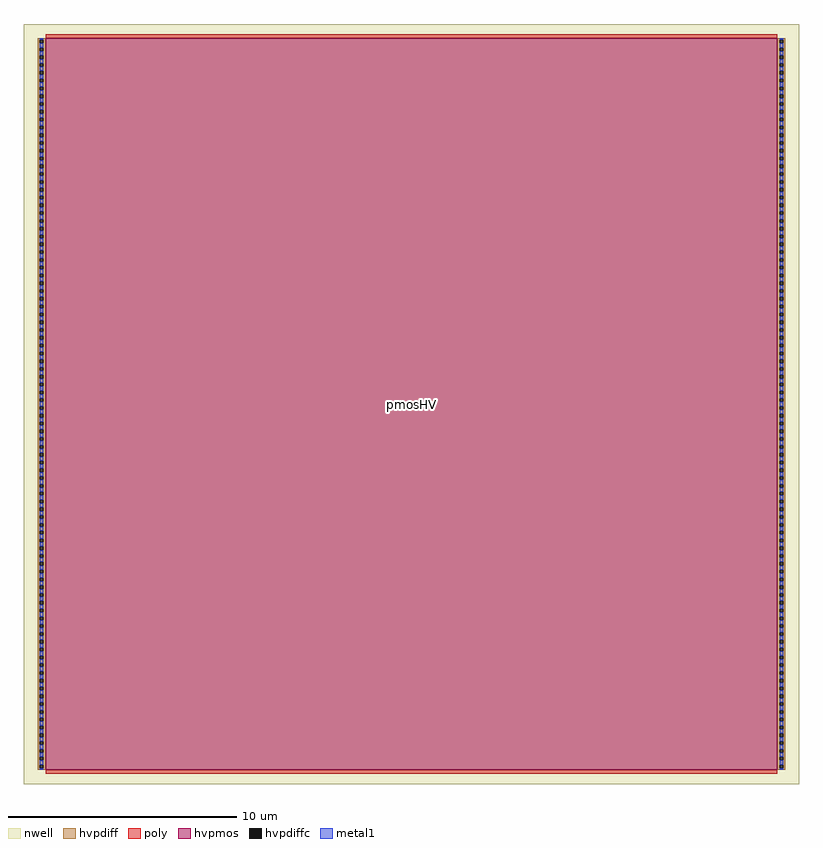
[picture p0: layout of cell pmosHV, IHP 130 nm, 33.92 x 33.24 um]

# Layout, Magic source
magic
tech ihp-sg13g2
magscale 1 2
<< nwell >>
rect -124 -124 6660 6524
<< hvpmos >>
rect 68 0 6468 6400
<< hvpdiff >>
rect 0 6386 68 6400
rect 0 6354 14 6386
rect 46 6354 68 6386
rect 0 6317 68 6354
rect 0 6285 14 6317
rect 46 6285 68 6317
rect 0 6249 68 6285
rect 0 6217 14 6249
rect 46 6217 68 6249
rect 0 6181 68 6217
rect 0 6149 14 6181
rect 46 6149 68 6181
rect 0 6113 68 6149
rect 0 6081 14 6113
rect 46 6081 68 6113
rect 0 6045 68 6081
rect 0 6013 14 6045
rect 46 6013 68 6045
rect 0 5976 68 6013
rect 0 5944 14 5976
rect 46 5944 68 5976
rect 0 5908 68 5944
rect 0 5876 14 5908
rect 46 5876 68 5908
rect 0 5840 68 5876
rect 0 5808 14 5840
rect 46 5808 68 5840
rect 0 5772 68 5808
rect 0 5740 14 5772
rect 46 5740 68 5772
rect 0 5704 68 5740
rect 0 5672 14 5704
rect 46 5672 68 5704
rect 0 5636 68 5672
rect 0 5604 14 5636
rect 46 5604 68 5636
rect 0 5567 68 5604
rect 0 5535 14 5567
rect 46 5535 68 5567
rect 0 5499 68 5535
rect 0 5467 14 5499
rect 46 5467 68 5499
rect 0 5431 68 5467
rect 0 5399 14 5431
rect 46 5399 68 5431
rect 0 5363 68 5399
rect 0 5331 14 5363
rect 46 5331 68 5363
rect 0 5295 68 5331
rect 0 5263 14 5295
rect 46 5263 68 5295
rect 0 5227 68 5263
rect 0 5195 14 5227
rect 46 5195 68 5227
rect 0 5158 68 5195
rect 0 5126 14 5158
rect 46 5126 68 5158
rect 0 5090 68 5126
rect 0 5058 14 5090
rect 46 5058 68 5090
rect 0 5022 68 5058
rect 0 4990 14 5022
rect 46 4990 68 5022
rect 0 4954 68 4990
rect 0 4922 14 4954
rect 46 4922 68 4954
rect 0 4886 68 4922
rect 0 4854 14 4886
rect 46 4854 68 4886
rect 0 4818 68 4854
rect 0 4786 14 4818
rect 46 4786 68 4818
rect 0 4749 68 4786
rect 0 4717 14 4749
rect 46 4717 68 4749
rect 0 4681 68 4717
rect 0 4649 14 4681
rect 46 4649 68 4681
rect 0 4613 68 4649
rect 0 4581 14 4613
rect 46 4581 68 4613
rect 0 4545 68 4581
rect 0 4513 14 4545
rect 46 4513 68 4545
rect 0 4477 68 4513
rect 0 4445 14 4477
rect 46 4445 68 4477
rect 0 4409 68 4445
rect 0 4377 14 4409
rect 46 4377 68 4409
rect 0 4340 68 4377
rect 0 4308 14 4340
rect 46 4308 68 4340
rect 0 4272 68 4308
rect 0 4240 14 4272
rect 46 4240 68 4272
rect 0 4204 68 4240
rect 0 4172 14 4204
rect 46 4172 68 4204
rect 0 4136 68 4172
rect 0 4104 14 4136
rect 46 4104 68 4136
rect 0 4068 68 4104
rect 0 4036 14 4068
rect 46 4036 68 4068
rect 0 3999 68 4036
rect 0 3967 14 3999
rect 46 3967 68 3999
rect 0 3931 68 3967
rect 0 3899 14 3931
rect 46 3899 68 3931
rect 0 3863 68 3899
rect 0 3831 14 3863
rect 46 3831 68 3863
rect 0 3795 68 3831
rect 0 3763 14 3795
rect 46 3763 68 3795
rect 0 3727 68 3763
rect 0 3695 14 3727
rect 46 3695 68 3727
rect 0 3659 68 3695
rect 0 3627 14 3659
rect 46 3627 68 3659
rect 0 3590 68 3627
rect 0 3558 14 3590
rect 46 3558 68 3590
rect 0 3522 68 3558
rect 0 3490 14 3522
rect 46 3490 68 3522
rect 0 3454 68 3490
rect 0 3422 14 3454
rect 46 3422 68 3454
rect 0 3386 68 3422
rect 0 3354 14 3386
rect 46 3354 68 3386
rect 0 3318 68 3354
rect 0 3286 14 3318
rect 46 3286 68 3318
rect 0 3250 68 3286
rect 0 3218 14 3250
rect 46 3218 68 3250
rect 0 3181 68 3218
rect 0 3149 14 3181
rect 46 3149 68 3181
rect 0 3113 68 3149
rect 0 3081 14 3113
rect 46 3081 68 3113
rect 0 3045 68 3081
rect 0 3013 14 3045
rect 46 3013 68 3045
rect 0 2977 68 3013
rect 0 2945 14 2977
rect 46 2945 68 2977
rect 0 2909 68 2945
rect 0 2877 14 2909
rect 46 2877 68 2909
rect 0 2841 68 2877
rect 0 2809 14 2841
rect 46 2809 68 2841
rect 0 2772 68 2809
rect 0 2740 14 2772
rect 46 2740 68 2772
rect 0 2704 68 2740
rect 0 2672 14 2704
rect 46 2672 68 2704
rect 0 2636 68 2672
rect 0 2604 14 2636
rect 46 2604 68 2636
rect 0 2568 68 2604
rect 0 2536 14 2568
rect 46 2536 68 2568
rect 0 2500 68 2536
rect 0 2468 14 2500
rect 46 2468 68 2500
rect 0 2432 68 2468
rect 0 2400 14 2432
rect 46 2400 68 2432
rect 0 2363 68 2400
rect 0 2331 14 2363
rect 46 2331 68 2363
rect 0 2295 68 2331
rect 0 2263 14 2295
rect 46 2263 68 2295
rect 0 2227 68 2263
rect 0 2195 14 2227
rect 46 2195 68 2227
rect 0 2159 68 2195
rect 0 2127 14 2159
rect 46 2127 68 2159
rect 0 2091 68 2127
rect 0 2059 14 2091
rect 46 2059 68 2091
rect 0 2022 68 2059
rect 0 1990 14 2022
rect 46 1990 68 2022
rect 0 1954 68 1990
rect 0 1922 14 1954
rect 46 1922 68 1954
rect 0 1886 68 1922
rect 0 1854 14 1886
rect 46 1854 68 1886
rect 0 1818 68 1854
rect 0 1786 14 1818
rect 46 1786 68 1818
rect 0 1750 68 1786
rect 0 1718 14 1750
rect 46 1718 68 1750
rect 0 1682 68 1718
rect 0 1650 14 1682
rect 46 1650 68 1682
rect 0 1613 68 1650
rect 0 1581 14 1613
rect 46 1581 68 1613
rect 0 1545 68 1581
rect 0 1513 14 1545
rect 46 1513 68 1545
rect 0 1477 68 1513
rect 0 1445 14 1477
rect 46 1445 68 1477
rect 0 1409 68 1445
rect 0 1377 14 1409
rect 46 1377 68 1409
rect 0 1341 68 1377
rect 0 1309 14 1341
rect 46 1309 68 1341
rect 0 1273 68 1309
rect 0 1241 14 1273
rect 46 1241 68 1273
rect 0 1204 68 1241
rect 0 1172 14 1204
rect 46 1172 68 1204
rect 0 1136 68 1172
rect 0 1104 14 1136
rect 46 1104 68 1136
rect 0 1068 68 1104
rect 0 1036 14 1068
rect 46 1036 68 1068
rect 0 1000 68 1036
rect 0 968 14 1000
rect 46 968 68 1000
rect 0 932 68 968
rect 0 900 14 932
rect 46 900 68 932
rect 0 864 68 900
rect 0 832 14 864
rect 46 832 68 864
rect 0 795 68 832
rect 0 763 14 795
rect 46 763 68 795
rect 0 727 68 763
rect 0 695 14 727
rect 46 695 68 727
rect 0 659 68 695
rect 0 627 14 659
rect 46 627 68 659
rect 0 591 68 627
rect 0 559 14 591
rect 46 559 68 591
rect 0 523 68 559
rect 0 491 14 523
rect 46 491 68 523
rect 0 455 68 491
rect 0 423 14 455
rect 46 423 68 455
rect 0 386 68 423
rect 0 354 14 386
rect 46 354 68 386
rect 0 318 68 354
rect 0 286 14 318
rect 46 286 68 318
rect 0 250 68 286
rect 0 218 14 250
rect 46 218 68 250
rect 0 182 68 218
rect 0 150 14 182
rect 46 150 68 182
rect 0 114 68 150
rect 0 82 14 114
rect 46 82 68 114
rect 0 46 68 82
rect 0 14 14 46
rect 46 14 68 46
rect 0 0 68 14
rect 6468 6386 6536 6400
rect 6468 6354 6490 6386
rect 6522 6354 6536 6386
rect 6468 6317 6536 6354
rect 6468 6285 6490 6317
rect 6522 6285 6536 6317
rect 6468 6249 6536 6285
rect 6468 6217 6490 6249
rect 6522 6217 6536 6249
rect 6468 6181 6536 6217
rect 6468 6149 6490 6181
rect 6522 6149 6536 6181
rect 6468 6113 6536 6149
rect 6468 6081 6490 6113
rect 6522 6081 6536 6113
rect 6468 6045 6536 6081
rect 6468 6013 6490 6045
rect 6522 6013 6536 6045
rect 6468 5976 6536 6013
rect 6468 5944 6490 5976
rect 6522 5944 6536 5976
rect 6468 5908 6536 5944
rect 6468 5876 6490 5908
rect 6522 5876 6536 5908
rect 6468 5840 6536 5876
rect 6468 5808 6490 5840
rect 6522 5808 6536 5840
rect 6468 5772 6536 5808
rect 6468 5740 6490 5772
rect 6522 5740 6536 5772
rect 6468 5704 6536 5740
rect 6468 5672 6490 5704
rect 6522 5672 6536 5704
rect 6468 5636 6536 5672
rect 6468 5604 6490 5636
rect 6522 5604 6536 5636
rect 6468 5567 6536 5604
rect 6468 5535 6490 5567
rect 6522 5535 6536 5567
rect 6468 5499 6536 5535
rect 6468 5467 6490 5499
rect 6522 5467 6536 5499
rect 6468 5431 6536 5467
rect 6468 5399 6490 5431
rect 6522 5399 6536 5431
rect 6468 5363 6536 5399
rect 6468 5331 6490 5363
rect 6522 5331 6536 5363
rect 6468 5295 6536 5331
rect 6468 5263 6490 5295
rect 6522 5263 6536 5295
rect 6468 5227 6536 5263
rect 6468 5195 6490 5227
rect 6522 5195 6536 5227
rect 6468 5158 6536 5195
rect 6468 5126 6490 5158
rect 6522 5126 6536 5158
rect 6468 5090 6536 5126
rect 6468 5058 6490 5090
rect 6522 5058 6536 5090
rect 6468 5022 6536 5058
rect 6468 4990 6490 5022
rect 6522 4990 6536 5022
rect 6468 4954 6536 4990
rect 6468 4922 6490 4954
rect 6522 4922 6536 4954
rect 6468 4886 6536 4922
rect 6468 4854 6490 4886
rect 6522 4854 6536 4886
rect 6468 4818 6536 4854
rect 6468 4786 6490 4818
rect 6522 4786 6536 4818
rect 6468 4749 6536 4786
rect 6468 4717 6490 4749
rect 6522 4717 6536 4749
rect 6468 4681 6536 4717
rect 6468 4649 6490 4681
rect 6522 4649 6536 4681
rect 6468 4613 6536 4649
rect 6468 4581 6490 4613
rect 6522 4581 6536 4613
rect 6468 4545 6536 4581
rect 6468 4513 6490 4545
rect 6522 4513 6536 4545
rect 6468 4477 6536 4513
rect 6468 4445 6490 4477
rect 6522 4445 6536 4477
rect 6468 4409 6536 4445
rect 6468 4377 6490 4409
rect 6522 4377 6536 4409
rect 6468 4340 6536 4377
rect 6468 4308 6490 4340
rect 6522 4308 6536 4340
rect 6468 4272 6536 4308
rect 6468 4240 6490 4272
rect 6522 4240 6536 4272
rect 6468 4204 6536 4240
rect 6468 4172 6490 4204
rect 6522 4172 6536 4204
rect 6468 4136 6536 4172
rect 6468 4104 6490 4136
rect 6522 4104 6536 4136
rect 6468 4068 6536 4104
rect 6468 4036 6490 4068
rect 6522 4036 6536 4068
rect 6468 3999 6536 4036
rect 6468 3967 6490 3999
rect 6522 3967 6536 3999
rect 6468 3931 6536 3967
rect 6468 3899 6490 3931
rect 6522 3899 6536 3931
rect 6468 3863 6536 3899
rect 6468 3831 6490 3863
rect 6522 3831 6536 3863
rect 6468 3795 6536 3831
rect 6468 3763 6490 3795
rect 6522 3763 6536 3795
rect 6468 3727 6536 3763
rect 6468 3695 6490 3727
rect 6522 3695 6536 3727
rect 6468 3659 6536 3695
rect 6468 3627 6490 3659
rect 6522 3627 6536 3659
rect 6468 3590 6536 3627
rect 6468 3558 6490 3590
rect 6522 3558 6536 3590
rect 6468 3522 6536 3558
rect 6468 3490 6490 3522
rect 6522 3490 6536 3522
rect 6468 3454 6536 3490
rect 6468 3422 6490 3454
rect 6522 3422 6536 3454
rect 6468 3386 6536 3422
rect 6468 3354 6490 3386
rect 6522 3354 6536 3386
rect 6468 3318 6536 3354
rect 6468 3286 6490 3318
rect 6522 3286 6536 3318
rect 6468 3250 6536 3286
rect 6468 3218 6490 3250
rect 6522 3218 6536 3250
rect 6468 3181 6536 3218
rect 6468 3149 6490 3181
rect 6522 3149 6536 3181
rect 6468 3113 6536 3149
rect 6468 3081 6490 3113
rect 6522 3081 6536 3113
rect 6468 3045 6536 3081
rect 6468 3013 6490 3045
rect 6522 3013 6536 3045
rect 6468 2977 6536 3013
rect 6468 2945 6490 2977
rect 6522 2945 6536 2977
rect 6468 2909 6536 2945
rect 6468 2877 6490 2909
rect 6522 2877 6536 2909
rect 6468 2841 6536 2877
rect 6468 2809 6490 2841
rect 6522 2809 6536 2841
rect 6468 2772 6536 2809
rect 6468 2740 6490 2772
rect 6522 2740 6536 2772
rect 6468 2704 6536 2740
rect 6468 2672 6490 2704
rect 6522 2672 6536 2704
rect 6468 2636 6536 2672
rect 6468 2604 6490 2636
rect 6522 2604 6536 2636
rect 6468 2568 6536 2604
rect 6468 2536 6490 2568
rect 6522 2536 6536 2568
rect 6468 2500 6536 2536
rect 6468 2468 6490 2500
rect 6522 2468 6536 2500
rect 6468 2432 6536 2468
rect 6468 2400 6490 2432
rect 6522 2400 6536 2432
rect 6468 2363 6536 2400
rect 6468 2331 6490 2363
rect 6522 2331 6536 2363
rect 6468 2295 6536 2331
rect 6468 2263 6490 2295
rect 6522 2263 6536 2295
rect 6468 2227 6536 2263
rect 6468 2195 6490 2227
rect 6522 2195 6536 2227
rect 6468 2159 6536 2195
rect 6468 2127 6490 2159
rect 6522 2127 6536 2159
rect 6468 2091 6536 2127
rect 6468 2059 6490 2091
rect 6522 2059 6536 2091
rect 6468 2022 6536 2059
rect 6468 1990 6490 2022
rect 6522 1990 6536 2022
rect 6468 1954 6536 1990
rect 6468 1922 6490 1954
rect 6522 1922 6536 1954
rect 6468 1886 6536 1922
rect 6468 1854 6490 1886
rect 6522 1854 6536 1886
rect 6468 1818 6536 1854
rect 6468 1786 6490 1818
rect 6522 1786 6536 1818
rect 6468 1750 6536 1786
rect 6468 1718 6490 1750
rect 6522 1718 6536 1750
rect 6468 1682 6536 1718
rect 6468 1650 6490 1682
rect 6522 1650 6536 1682
rect 6468 1613 6536 1650
rect 6468 1581 6490 1613
rect 6522 1581 6536 1613
rect 6468 1545 6536 1581
rect 6468 1513 6490 1545
rect 6522 1513 6536 1545
rect 6468 1477 6536 1513
rect 6468 1445 6490 1477
rect 6522 1445 6536 1477
rect 6468 1409 6536 1445
rect 6468 1377 6490 1409
rect 6522 1377 6536 1409
rect 6468 1341 6536 1377
rect 6468 1309 6490 1341
rect 6522 1309 6536 1341
rect 6468 1273 6536 1309
rect 6468 1241 6490 1273
rect 6522 1241 6536 1273
rect 6468 1204 6536 1241
rect 6468 1172 6490 1204
rect 6522 1172 6536 1204
rect 6468 1136 6536 1172
rect 6468 1104 6490 1136
rect 6522 1104 6536 1136
rect 6468 1068 6536 1104
rect 6468 1036 6490 1068
rect 6522 1036 6536 1068
rect 6468 1000 6536 1036
rect 6468 968 6490 1000
rect 6522 968 6536 1000
rect 6468 932 6536 968
rect 6468 900 6490 932
rect 6522 900 6536 932
rect 6468 864 6536 900
rect 6468 832 6490 864
rect 6522 832 6536 864
rect 6468 795 6536 832
rect 6468 763 6490 795
rect 6522 763 6536 795
rect 6468 727 6536 763
rect 6468 695 6490 727
rect 6522 695 6536 727
rect 6468 659 6536 695
rect 6468 627 6490 659
rect 6522 627 6536 659
rect 6468 591 6536 627
rect 6468 559 6490 591
rect 6522 559 6536 591
rect 6468 523 6536 559
rect 6468 491 6490 523
rect 6522 491 6536 523
rect 6468 455 6536 491
rect 6468 423 6490 455
rect 6522 423 6536 455
rect 6468 386 6536 423
rect 6468 354 6490 386
rect 6522 354 6536 386
rect 6468 318 6536 354
rect 6468 286 6490 318
rect 6522 286 6536 318
rect 6468 250 6536 286
rect 6468 218 6490 250
rect 6522 218 6536 250
rect 6468 182 6536 218
rect 6468 150 6490 182
rect 6522 150 6536 182
rect 6468 114 6536 150
rect 6468 82 6490 114
rect 6522 82 6536 114
rect 6468 46 6536 82
rect 6468 14 6490 46
rect 6522 14 6536 46
rect 6468 0 6536 14
<< hvpdiffc >>
rect 14 6354 46 6386
rect 14 6285 46 6317
rect 14 6217 46 6249
rect 14 6149 46 6181
rect 14 6081 46 6113
rect 14 6013 46 6045
rect 14 5944 46 5976
rect 14 5876 46 5908
rect 14 5808 46 5840
rect 14 5740 46 5772
rect 14 5672 46 5704
rect 14 5604 46 5636
rect 14 5535 46 5567
rect 14 5467 46 5499
rect 14 5399 46 5431
rect 14 5331 46 5363
rect 14 5263 46 5295
rect 14 5195 46 5227
rect 14 5126 46 5158
rect 14 5058 46 5090
rect 14 4990 46 5022
rect 14 4922 46 4954
rect 14 4854 46 4886
rect 14 4786 46 4818
rect 14 4717 46 4749
rect 14 4649 46 4681
rect 14 4581 46 4613
rect 14 4513 46 4545
rect 14 4445 46 4477
rect 14 4377 46 4409
rect 14 4308 46 4340
rect 14 4240 46 4272
rect 14 4172 46 4204
rect 14 4104 46 4136
rect 14 4036 46 4068
rect 14 3967 46 3999
rect 14 3899 46 3931
rect 14 3831 46 3863
rect 14 3763 46 3795
rect 14 3695 46 3727
rect 14 3627 46 3659
rect 14 3558 46 3590
rect 14 3490 46 3522
rect 14 3422 46 3454
rect 14 3354 46 3386
rect 14 3286 46 3318
rect 14 3218 46 3250
rect 14 3149 46 3181
rect 14 3081 46 3113
rect 14 3013 46 3045
rect 14 2945 46 2977
rect 14 2877 46 2909
rect 14 2809 46 2841
rect 14 2740 46 2772
rect 14 2672 46 2704
rect 14 2604 46 2636
rect 14 2536 46 2568
rect 14 2468 46 2500
rect 14 2400 46 2432
rect 14 2331 46 2363
rect 14 2263 46 2295
rect 14 2195 46 2227
rect 14 2127 46 2159
rect 14 2059 46 2091
rect 14 1990 46 2022
rect 14 1922 46 1954
rect 14 1854 46 1886
rect 14 1786 46 1818
rect 14 1718 46 1750
rect 14 1650 46 1682
rect 14 1581 46 1613
rect 14 1513 46 1545
rect 14 1445 46 1477
rect 14 1377 46 1409
rect 14 1309 46 1341
rect 14 1241 46 1273
rect 14 1172 46 1204
rect 14 1104 46 1136
rect 14 1036 46 1068
rect 14 968 46 1000
rect 14 900 46 932
rect 14 832 46 864
rect 14 763 46 795
rect 14 695 46 727
rect 14 627 46 659
rect 14 559 46 591
rect 14 491 46 523
rect 14 423 46 455
rect 14 354 46 386
rect 14 286 46 318
rect 14 218 46 250
rect 14 150 46 182
rect 14 82 46 114
rect 14 14 46 46
rect 6490 6354 6522 6386
rect 6490 6285 6522 6317
rect 6490 6217 6522 6249
rect 6490 6149 6522 6181
rect 6490 6081 6522 6113
rect 6490 6013 6522 6045
rect 6490 5944 6522 5976
rect 6490 5876 6522 5908
rect 6490 5808 6522 5840
rect 6490 5740 6522 5772
rect 6490 5672 6522 5704
rect 6490 5604 6522 5636
rect 6490 5535 6522 5567
rect 6490 5467 6522 5499
rect 6490 5399 6522 5431
rect 6490 5331 6522 5363
rect 6490 5263 6522 5295
rect 6490 5195 6522 5227
rect 6490 5126 6522 5158
rect 6490 5058 6522 5090
rect 6490 4990 6522 5022
rect 6490 4922 6522 4954
rect 6490 4854 6522 4886
rect 6490 4786 6522 4818
rect 6490 4717 6522 4749
rect 6490 4649 6522 4681
rect 6490 4581 6522 4613
rect 6490 4513 6522 4545
rect 6490 4445 6522 4477
rect 6490 4377 6522 4409
rect 6490 4308 6522 4340
rect 6490 4240 6522 4272
rect 6490 4172 6522 4204
rect 6490 4104 6522 4136
rect 6490 4036 6522 4068
rect 6490 3967 6522 3999
rect 6490 3899 6522 3931
rect 6490 3831 6522 3863
rect 6490 3763 6522 3795
rect 6490 3695 6522 3727
rect 6490 3627 6522 3659
rect 6490 3558 6522 3590
rect 6490 3490 6522 3522
rect 6490 3422 6522 3454
rect 6490 3354 6522 3386
rect 6490 3286 6522 3318
rect 6490 3218 6522 3250
rect 6490 3149 6522 3181
rect 6490 3081 6522 3113
rect 6490 3013 6522 3045
rect 6490 2945 6522 2977
rect 6490 2877 6522 2909
rect 6490 2809 6522 2841
rect 6490 2740 6522 2772
rect 6490 2672 6522 2704
rect 6490 2604 6522 2636
rect 6490 2536 6522 2568
rect 6490 2468 6522 2500
rect 6490 2400 6522 2432
rect 6490 2331 6522 2363
rect 6490 2263 6522 2295
rect 6490 2195 6522 2227
rect 6490 2127 6522 2159
rect 6490 2059 6522 2091
rect 6490 1990 6522 2022
rect 6490 1922 6522 1954
rect 6490 1854 6522 1886
rect 6490 1786 6522 1818
rect 6490 1718 6522 1750
rect 6490 1650 6522 1682
rect 6490 1581 6522 1613
rect 6490 1513 6522 1545
rect 6490 1445 6522 1477
rect 6490 1377 6522 1409
rect 6490 1309 6522 1341
rect 6490 1241 6522 1273
rect 6490 1172 6522 1204
rect 6490 1104 6522 1136
rect 6490 1036 6522 1068
rect 6490 968 6522 1000
rect 6490 900 6522 932
rect 6490 832 6522 864
rect 6490 763 6522 795
rect 6490 695 6522 727
rect 6490 627 6522 659
rect 6490 559 6522 591
rect 6490 491 6522 523
rect 6490 423 6522 455
rect 6490 354 6522 386
rect 6490 286 6522 318
rect 6490 218 6522 250
rect 6490 150 6522 182
rect 6490 82 6522 114
rect 6490 14 6522 46
<< poly >>
rect 68 6400 6468 6436
rect 68 -36 6468 0
<< metal1 >>
rect 14 6386 46 6400
rect 14 6317 46 6354
rect 14 6249 46 6285
rect 14 6181 46 6217
rect 14 6113 46 6149
rect 14 6045 46 6081
rect 14 5976 46 6013
rect 14 5908 46 5944
rect 14 5840 46 5876
rect 14 5772 46 5808
rect 14 5704 46 5740
rect 14 5636 46 5672
rect 14 5567 46 5604
rect 14 5499 46 5535
rect 14 5431 46 5467
rect 14 5363 46 5399
rect 14 5295 46 5331
rect 14 5227 46 5263
rect 14 5158 46 5195
rect 14 5090 46 5126
rect 14 5022 46 5058
rect 14 4954 46 4990
rect 14 4886 46 4922
rect 14 4818 46 4854
rect 14 4749 46 4786
rect 14 4681 46 4717
rect 14 4613 46 4649
rect 14 4545 46 4581
rect 14 4477 46 4513
rect 14 4409 46 4445
rect 14 4340 46 4377
rect 14 4272 46 4308
rect 14 4204 46 4240
rect 14 4136 46 4172
rect 14 4068 46 4104
rect 14 3999 46 4036
rect 14 3931 46 3967
rect 14 3863 46 3899
rect 14 3795 46 3831
rect 14 3727 46 3763
rect 14 3659 46 3695
rect 14 3590 46 3627
rect 14 3522 46 3558
rect 14 3454 46 3490
rect 14 3386 46 3422
rect 14 3318 46 3354
rect 14 3250 46 3286
rect 14 3181 46 3218
rect 14 3113 46 3149
rect 14 3045 46 3081
rect 14 2977 46 3013
rect 14 2909 46 2945
rect 14 2841 46 2877
rect 14 2772 46 2809
rect 14 2704 46 2740
rect 14 2636 46 2672
rect 14 2568 46 2604
rect 14 2500 46 2536
rect 14 2432 46 2468
rect 14 2363 46 2400
rect 14 2295 46 2331
rect 14 2227 46 2263
rect 14 2159 46 2195
rect 14 2091 46 2127
rect 14 2022 46 2059
rect 14 1954 46 1990
rect 14 1886 46 1922
rect 14 1818 46 1854
rect 14 1750 46 1786
rect 14 1682 46 1718
rect 14 1613 46 1650
rect 14 1545 46 1581
rect 14 1477 46 1513
rect 14 1409 46 1445
rect 14 1341 46 1377
rect 14 1273 46 1309
rect 14 1204 46 1241
rect 14 1136 46 1172
rect 14 1068 46 1104
rect 14 1000 46 1036
rect 14 932 46 968
rect 14 864 46 900
rect 14 795 46 832
rect 14 727 46 763
rect 14 659 46 695
rect 14 591 46 627
rect 14 523 46 559
rect 14 455 46 491
rect 14 386 46 423
rect 14 318 46 354
rect 14 250 46 286
rect 14 182 46 218
rect 14 114 46 150
rect 14 46 46 82
rect 14 0 46 14
rect 6490 6386 6522 6400
rect 6490 6317 6522 6354
rect 6490 6249 6522 6285
rect 6490 6181 6522 6217
rect 6490 6113 6522 6149
rect 6490 6045 6522 6081
rect 6490 5976 6522 6013
rect 6490 5908 6522 5944
rect 6490 5840 6522 5876
rect 6490 5772 6522 5808
rect 6490 5704 6522 5740
rect 6490 5636 6522 5672
rect 6490 5567 6522 5604
rect 6490 5499 6522 5535
rect 6490 5431 6522 5467
rect 6490 5363 6522 5399
rect 6490 5295 6522 5331
rect 6490 5227 6522 5263
rect 6490 5158 6522 5195
rect 6490 5090 6522 5126
rect 6490 5022 6522 5058
rect 6490 4954 6522 4990
rect 6490 4886 6522 4922
rect 6490 4818 6522 4854
rect 6490 4749 6522 4786
rect 6490 4681 6522 4717
rect 6490 4613 6522 4649
rect 6490 4545 6522 4581
rect 6490 4477 6522 4513
rect 6490 4409 6522 4445
rect 6490 4340 6522 4377
rect 6490 4272 6522 4308
rect 6490 4204 6522 4240
rect 6490 4136 6522 4172
rect 6490 4068 6522 4104
rect 6490 3999 6522 4036
rect 6490 3931 6522 3967
rect 6490 3863 6522 3899
rect 6490 3795 6522 3831
rect 6490 3727 6522 3763
rect 6490 3659 6522 3695
rect 6490 3590 6522 3627
rect 6490 3522 6522 3558
rect 6490 3454 6522 3490
rect 6490 3386 6522 3422
rect 6490 3318 6522 3354
rect 6490 3250 6522 3286
rect 6490 3181 6522 3218
rect 6490 3113 6522 3149
rect 6490 3045 6522 3081
rect 6490 2977 6522 3013
rect 6490 2909 6522 2945
rect 6490 2841 6522 2877
rect 6490 2772 6522 2809
rect 6490 2704 6522 2740
rect 6490 2636 6522 2672
rect 6490 2568 6522 2604
rect 6490 2500 6522 2536
rect 6490 2432 6522 2468
rect 6490 2363 6522 2400
rect 6490 2295 6522 2331
rect 6490 2227 6522 2263
rect 6490 2159 6522 2195
rect 6490 2091 6522 2127
rect 6490 2022 6522 2059
rect 6490 1954 6522 1990
rect 6490 1886 6522 1922
rect 6490 1818 6522 1854
rect 6490 1750 6522 1786
rect 6490 1682 6522 1718
rect 6490 1613 6522 1650
rect 6490 1545 6522 1581
rect 6490 1477 6522 1513
rect 6490 1409 6522 1445
rect 6490 1341 6522 1377
rect 6490 1273 6522 1309
rect 6490 1204 6522 1241
rect 6490 1136 6522 1172
rect 6490 1068 6522 1104
rect 6490 1000 6522 1036
rect 6490 932 6522 968
rect 6490 864 6522 900
rect 6490 795 6522 832
rect 6490 727 6522 763
rect 6490 659 6522 695
rect 6490 591 6522 627
rect 6490 523 6522 559
rect 6490 455 6522 491
rect 6490 386 6522 423
rect 6490 318 6522 354
rect 6490 250 6522 286
rect 6490 182 6522 218
rect 6490 114 6522 150
rect 6490 46 6522 82
rect 6490 0 6522 14
<< labels >>
flabel comment s 3268 3200 3268 3200 0 FreeSans 200 90 0 0 pmosHV
<< end >>
